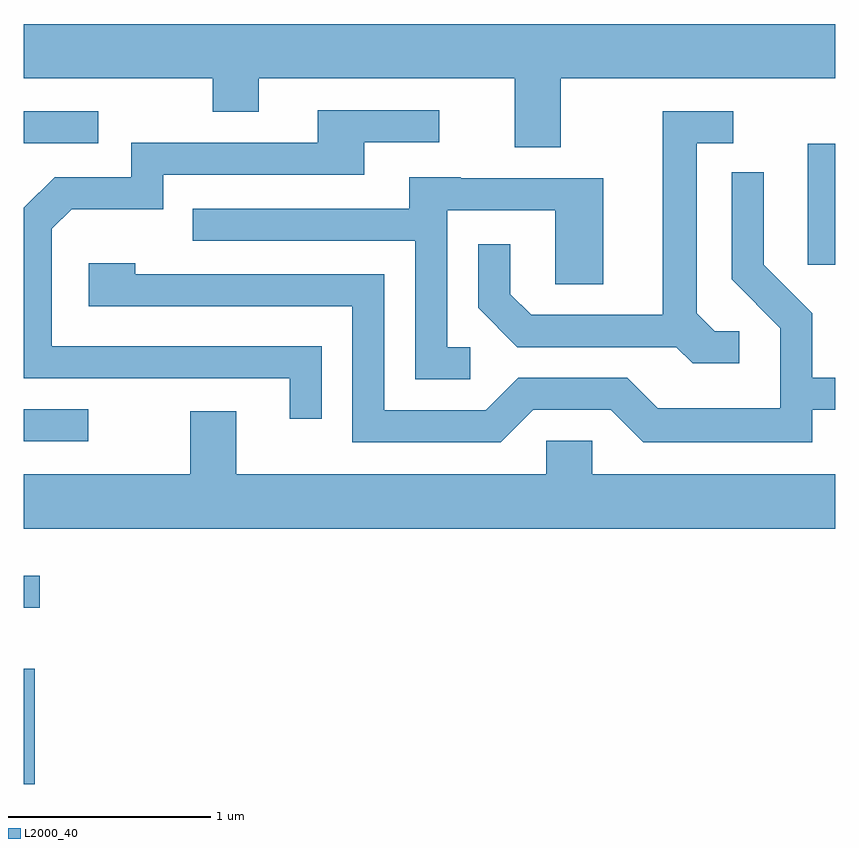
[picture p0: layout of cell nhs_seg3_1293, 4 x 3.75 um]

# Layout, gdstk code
import gdstk
lib = gdstk.Library(unit=1e-6, precision=1e-09)
def R(c, l, rs):  # rectangles x0, y0, x1, y1
    for r in rs: c.add(gdstk.rectangle(r[:2], r[2:], *l))
def P(c, l, *ps):  # polygons
    for p in ps: c.add(gdstk.Polygon(p, *l))
L2000_40 = (2000, 40)

nhs_seg3_1293 = lib.new_cell('nhs_seg3_1293')
R(nhs_seg3_1293, L2000_40, [(223.611,1118.096,223.664,1118.664), (223.611,1118.966,223.688,1119.124), (223.611,1119.786,223.928,1119.944), (227.476,1120.656,227.611,1121.254), (223.611,1121.256,223.978,1121.414)])
P(nhs_seg3_1293, L2000_40, [(226.259,1121.576),(227.611,1121.576),(227.611,1121.844),(223.611,1121.844),(223.611,1121.576),(224.541,1121.576),(224.541,1121.411),(224.769,1121.411),(224.769,1121.576),(226.031,1121.576),(226.031,1121.236),(226.259,1121.236)],
  [(225.079,1120.254),(223.749,1120.254),(223.749,1120.834),(223.847,1120.931),(224.299,1120.931),(224.299,1121.101),(225.289,1121.101),(225.289,1121.261),(225.658,1121.261),(225.658,1121.419),(225.061,1121.419),(225.061,1121.259),(224.141,1121.259),(224.141,1121.089),(223.764,1121.089),(223.611,1120.937),(223.611,1120.096),(224.921,1120.096),(224.921,1119.898),(225.079,1119.898)],
  [(227.138,1120.329),(227.017,1120.329),(226.929,1120.417),(226.929,1121.256),(227.108,1121.256),(227.108,1121.414),(226.761,1121.414),(226.761,1120.409),(226.112,1120.409),(226.009,1120.512),(226.009,1120.758),(225.851,1120.758),(225.851,1120.444),(226.044,1120.251),(226.829,1120.251),(226.909,1120.171),(227.138,1120.171)],
  [(226.122,1119.941),(226.504,1119.941),(226.664,1119.781),(227.499,1119.781),(227.499,1119.941),(227.611,1119.941),(227.611,1120.099),(227.499,1120.099),(227.499,1120.417),(227.259,1120.657),(227.259,1121.113),(227.101,1121.113),(227.101,1120.584),(227.341,1120.344),(227.341,1119.949),(226.737,1119.949),(226.587,1120.099),(226.049,1120.099),(225.889,1119.939),(225.389,1119.939),(225.389,1120.609),(224.159,1120.609),(224.159,1120.664),(223.931,1120.664),(223.931,1120.451),(225.231,1120.451),(225.231,1119.781),(225.962,1119.781)],
  [(225.813,1120.249),(225.699,1120.249),(225.699,1120.926),(226.231,1120.926),(226.231,1120.561),(226.469,1120.561),(226.469,1121.084),(225.765,1121.084),(225.765,1121.089),(225.511,1121.089),(225.511,1120.934),(224.443,1120.934),(224.443,1120.776),(225.541,1120.776),(225.541,1120.091),(225.813,1120.091)],
  [(227.611,1119.624),(226.414,1119.624),(226.414,1119.789),(226.186,1119.789),(226.186,1119.624),(224.659,1119.624),(224.659,1119.934),(224.431,1119.934),(224.431,1119.624),(223.611,1119.624),(223.611,1119.356),(227.611,1119.356)])

lib.write_gds('nhs_seg3_1293.gds')
